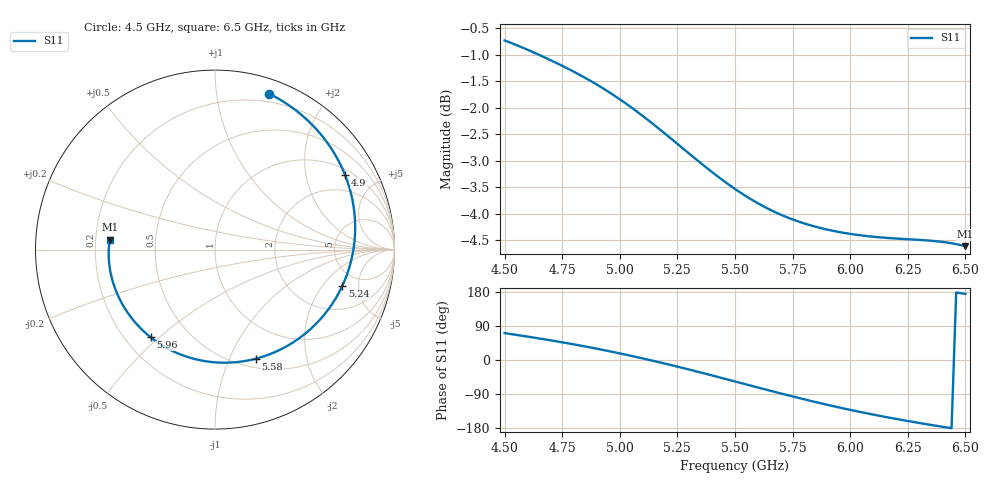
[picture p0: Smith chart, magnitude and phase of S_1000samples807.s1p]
! TOUCHSTONE file generated by CST MICROWAVE STUDIO
! Date and time: Sat Oct 29 11:11:23 2022
! Project name: L.cst
! Parameters = {Di=1.27; Epsilon_r=1.56; InnerDiameter=1.27; Length=2; Lf=10; Lg=60; OuterConductorThickness=0.2921; OuterDiameter=3.6; Wf=3; Wp=41.2; de=1.5; df=6.8; g=0.8; gx=1.72567; gy=1.24491; h=2.34; hf=1.524; px=9.58374; py=9.11488; w=9.7; wx=7.85807; wy=7.86997}
! Header version: 2018
! Port assignment regex: !\s*Touchstone port\s*([0-9]+)\s*=\s*(CST MWS port|CST DS port)\s*([0-9]+|Zmin|Zmax)\s*\(\"(.*)\"\)(\s*mode\s*([0-9]+))?.*
! Touchstone port assignment:
! Touchstone port 1 = CST MWS port 1 ("")
# GHz S DB R 50
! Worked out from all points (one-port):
!   101 points, 4.5 GHz to 6.5 GHz, reference 50 ohm
!   lowest |S11| = -4.6 dB at 6.5 GHz (marker M1), VSWR 3.85, Z = 13 + j2.24 ohm
!   |S11| at or under -10 dB: nowhere
!   S11 on the Smith chart (normalised r, x): 4.5 GHz: 0.12, +1.40; 4.9 GHz: 1.22, +3.35; 5.24 GHz: 3.61, -3.22; 5.58 GHz: 0.60, -1.26; 5.96 GHz: 0.30, -0.47; 6.5 GHz: 0.26, +0.04
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4.5  -0.73 70.9
4.56  -0.83 65.4
4.64  -0.98 57.8
4.76  -1.23 45.6
4.84  -1.41 36.8
4.9  -1.56 29.8
5  -1.84 17.4
5.06  -2.03 9.5
5.12  -2.22 1.3
5.18  -2.43 -7.2
5.24  -2.65 -16.0
5.26  -2.72 -19.0
5.32  -2.93 -28.2
5.38  -3.14 -37.5
5.44  -3.35 -47.0
5.5  -3.53 -56.6
5.58  -3.75 -69.5
5.66  -3.94 -82.2
5.7  -4.02 -88.5
5.76  -4.12 -97.7
5.86  -4.26 -112.5
5.96  -4.35 -126.3
6  -4.38 -131.6
6.12  -4.44 -146.4
6.18  -4.46 -153.3
6.26  -4.48 -162.0
6.38  -4.52 -174.2
6.5  -4.61 174.5
